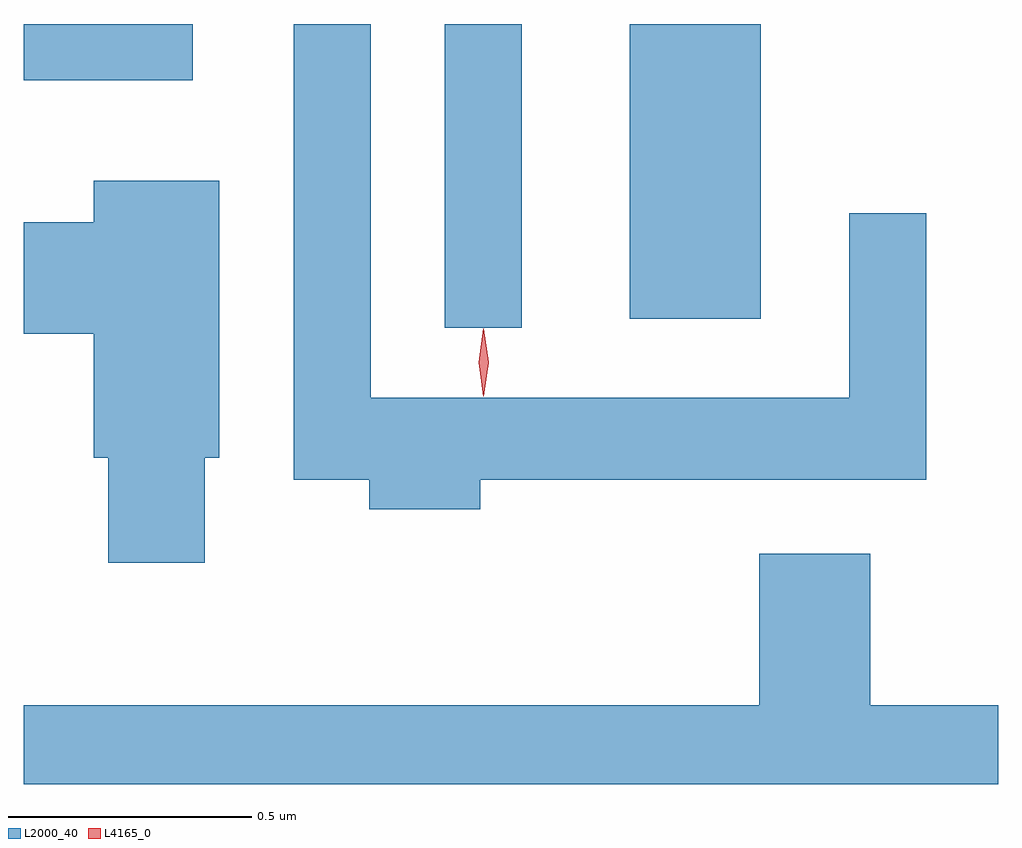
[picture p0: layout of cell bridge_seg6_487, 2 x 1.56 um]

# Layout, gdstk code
import gdstk
lib = gdstk.Library(unit=1e-6, precision=1e-09)
def R(c, l, rs):  # rectangles x0, y0, x1, y1
    for r in rs: c.add(gdstk.rectangle(r[:2], r[2:], *l))
def P(c, l, *ps):  # polygons
    for p in ps: c.add(gdstk.Polygon(p, *l))
L2000_40 = (2000, 40)
L4165_0 = (4165, 0)

bridge_seg6_487 = lib.new_cell('bridge_seg6_487')
R(bridge_seg6_487, L2000_40, [(706.236,1531.098,706.394,1531.721), (706.616,1531.116,706.884,1531.721), (705.372,1531.606,705.719,1531.721)])
P(bridge_seg6_487, L2000_40, [(706.309,1530.786),(707.224,1530.786),(707.224,1531.333),(707.066,1531.333),(707.066,1530.954),(706.084,1530.954),(706.084,1531.721),(705.926,1531.721),(705.926,1530.786),(706.081,1530.786),(706.081,1530.726),(706.309,1530.726)],
  [(705.744,1530.831),(705.774,1530.831),(705.774,1531.399),(705.516,1531.399),(705.516,1531.314),(705.372,1531.314),(705.372,1531.086),(705.516,1531.086),(705.516,1530.831),(705.546,1530.831),(705.546,1530.616),(705.744,1530.616)],
  [(707.372,1530.324),(707.109,1530.324),(707.109,1530.634),(706.881,1530.634),(706.881,1530.324),(705.372,1530.324),(705.372,1530.162),(707.372,1530.162)])
P(bridge_seg6_487, L4165_0, [(706.316,1530.959),(706.316,1530.96),(706.306,1531.026),(706.315,1531.092),(706.316,1531.093),(706.316,1531.092),(706.326,1531.026),(706.316,1530.96)],
  [(706.315,1530.957),(706.306,1531.027),(706.315,1531.096),(706.316,1531.096),(706.316,1531.096),(706.326,1531.027),(706.316,1530.957),(706.316,1530.957)])

lib.write_gds('bridge_seg6_487.gds')
